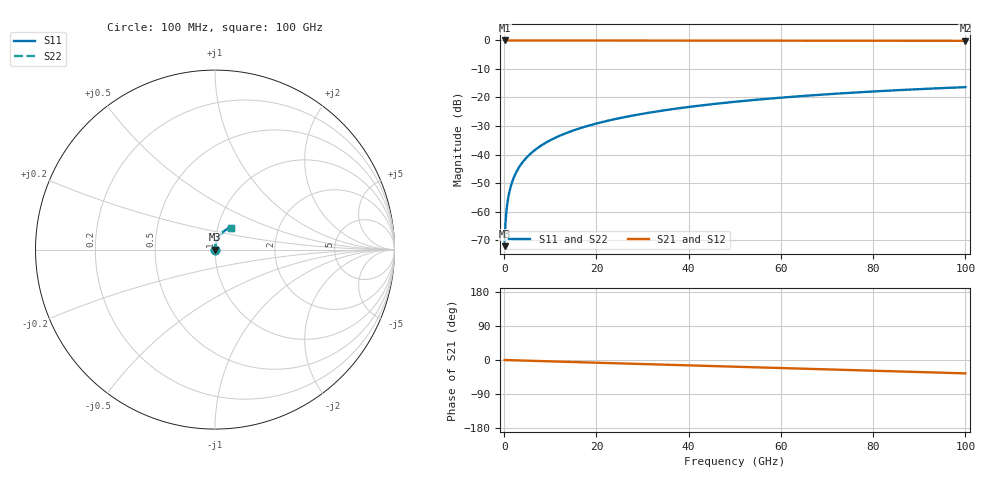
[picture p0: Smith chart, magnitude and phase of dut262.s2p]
! Touchstone file exported from HFSS 2026.1.0
!  File:  C:/ffzhzh/LocalFiles/Ansys_Project_Files/temp_train_TSV_262_1783508540_44152.aedt
!  Generated:  07:03:35 PM Jul  8, 2026
!  Design:  TSV
!  Project:  temp_train_TSV_262_1783508540_44152
! Variables:
!  h_bsmrdl = 2um
!  h_ox = 20um
!  h_rdl = 5um
!  h_sub = 63.94um
!  h_tmrdl = 5um
!  h_tsv = 63.94um
!  h_via = 3um
!  l_bsmrdl = 300um
!  l_sub = 417.44um
!  l_tmrdl = 200um
!  m_sub = 200um
!  pitch = 49.65um
!  r_tsv = 8.72um
!  s_tmrdl = 10um
!  w_bsmrdl = 18um
!  w_sub = 500um
!  w_tmrdl = 12um
!  x_tsv_center1 = 206um
!  x_tsv_center2 = 524um
!  x_tsv_center3 = 736um
!  x_tsv_center4 = 1054um
!  x_tsv_center5 = 1266um
!  x_tsv_center6 = 1584um
# GHz S MA R 50.000000
! Terminal data exported
! Port[1] = TSV1_1_T1
! Port[2] = TSV1_1_T2
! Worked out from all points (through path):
!   1000 points, 100 MHz to 100 GHz, reference 50 ohm
!   highest |S21| = 0.00 dB at 100 MHz (marker M1); lowest = -0.1 dB at 100 GHz (marker M2)
!   group delay of S21, straight-line fit = 980 fs
!   lowest |S11| = -72.1 dB at 100 MHz (marker M3), VSWR 1.00, Z = 50 + j0.021 ohm
!   |S11| at or under -10 dB: start of sweep to end of sweep
!   |S22| runs from -72.1 to -16.4 dB; largest |S21 - S12| = 4.4e-15
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0.1  0.0002476 58.2  0.9999 -0.0  0.9999 -0.0  0.0002476 58.2
! Gamma 0 0 0 0
! Port Impedance 50 0 50 0
0.3  0.0006388 75.8  0.9998 -0.1  0.9998 -0.1  0.0006388 75.8
0.7  0.001404 80.8  0.9998 -0.3  0.9998 -0.3  0.001404 80.8
0.8  0.00159 81.4  0.9998 -0.3  0.9998 -0.3  0.00159 81.4
1  0.00196 82.2  0.9997 -0.4  0.9997 -0.4  0.00196 82.2
1.3  0.002511 83.0  0.9997 -0.5  0.9997 -0.5  0.002511 83.0
1.7  0.003239 83.6  0.9997 -0.6  0.9997 -0.6  0.003239 83.6
2.3  0.004322 84.1  0.9996 -0.8  0.9996 -0.8  0.004322 84.1
3  0.00557 84.4  0.9995 -1.1  0.9995 -1.1  0.00557 84.4
3.8  0.006984 84.5  0.9995 -1.4  0.9995 -1.4  0.006984 84.5
4.8  0.008742 84.6  0.9994 -1.7  0.9994 -1.7  0.008742 84.6
6  0.01084 84.5  0.9993 -2.2  0.9993 -2.2  0.01084 84.5
8.8  0.01573 84.1  0.9991 -3.2  0.9991 -3.2  0.01573 84.1
12.4  0.02195 83.2  0.9988 -4.4  0.9988 -4.4  0.02195 83.2
16.8  0.02951 81.9  0.9985 -6.0  0.9985 -6.0  0.02951 81.9
24.2  0.04208 79.6  0.9978 -8.6  0.9978 -8.6  0.04208 79.6
33.4  0.05742 76.6  0.9969 -11.9  0.9969 -11.9  0.05742 76.6
41.2  0.07013 74.0  0.9959 -14.7  0.9959 -14.7  0.07013 74.0
50.1  0.08422 71.0  0.9946 -17.8  0.9946 -17.8  0.08422 71.0
66.7  0.1091 65.3  0.9919 -23.6  0.9919 -23.6  0.1091 65.3
83.4  0.1319 59.6  0.9889 -29.5  0.9889 -29.5  0.1319 59.6
100  0.1519 53.9  0.9858 -35.3  0.9858 -35.3  0.1519 53.9
